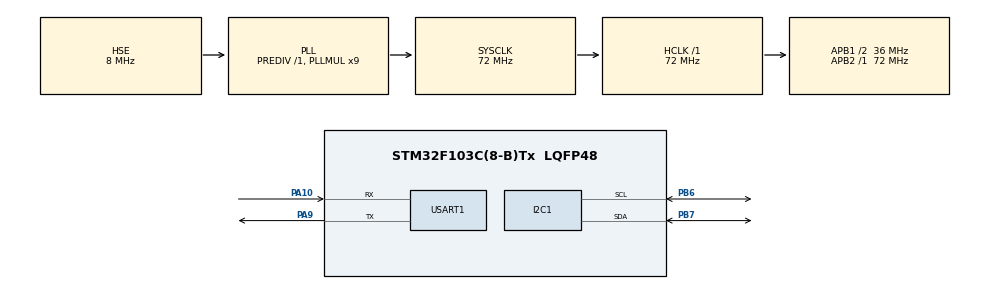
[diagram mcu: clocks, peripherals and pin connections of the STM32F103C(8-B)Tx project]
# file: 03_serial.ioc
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I2C1.I2C_Mode=I2C_Fast
Mcu.Family=STM32F1
Mcu.Name=STM32F103C(8-B)Tx
Mcu.Package=LQFP48
NVIC.PriorityGroup=NVIC_PRIORITYGROUP_4
NVIC.USART1_IRQn=true\:0\:0\:false\:false\:true\:true\:true\:true
PA10.Mode=Asynchronous
PA10.Signal=USART1_RX
PA13.Mode=Serial_Wire
PA13.Signal=SYS_JTMS-SWDIO
PA14.Mode=Serial_Wire
PA14.Signal=SYS_JTCK-SWCLK
PA9.Mode=Asynchronous
PA9.Signal=USART1_TX
PB6.Mode=I2C
PB6.Signal=I2C1_SCL
PB7.Mode=I2C
PB7.Signal=I2C1_SDA
PD0-OSC_IN.Mode=HSE-External-Oscillator
PD0-OSC_IN.Signal=RCC_OSC_IN
PD1-OSC_OUT.Mode=HSE-External-Oscillator
PD1-OSC_OUT.Signal=RCC_OSC_OUT
ProjectManager.HeapSize=0x200
ProjectManager.StackSize=0x400
ProjectManager.TargetToolchain=Makefile
RCC.AHBFreq_Value=72000000
RCC.APB1CLKDivider=RCC_HCLK_DIV2
RCC.APB1Freq_Value=36000000
RCC.APB1TimFreq_Value=72000000
RCC.APB2Freq_Value=72000000
RCC.APB2TimFreq_Value=72000000
RCC.HCLKFreq_Value=72000000
RCC.PLLMUL=RCC_PLL_MUL9
RCC.PLLSourceVirtual=RCC_PLLSOURCE_HSE
RCC.SYSCLKFreq_VALUE=72000000
RCC.SYSCLKSource=RCC_SYSCLKSOURCE_PLLCLK
RCC.USBFreq_Value=72000000
USART1.VirtualMode=VM_ASYNC
board=custom

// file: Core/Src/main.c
/* USER CODE BEGIN Header */
/**
  ******************************************************************************
  * @file           : main.c
  * @brief          : Main program body
  ******************************************************************************
  * @attention
  *
  * Copyright (c) 2026 STMicroelectronics.
  * All rights reserved.
  *
  * This software is licensed under terms that can be found in the LICENSE file
  * in the root directory of this software component.
  * If no LICENSE file comes with this software, it is provided AS-IS.
  *
  ******************************************************************************
  */
/* USER CODE END Header */
#include "main.h"
#include "i2c.h"
#include "usart.h"
#include "gpio.h"

/* USER CODE BEGIN Includes */
#include <string.h>
#include <stdlib.h>
#include <math.h>
#include "OLED.h"
/* USER CODE END Includes */

/* USER CODE BEGIN PV */
uint8_t state = 1;
int time = 0;
float tdata[1] = {0.0};
uint8_t rdata[1] = {0};
char str_list[4][10] = {"", "Sine", "Sawtooth", "Square"};
/* USER CODE END PV */

void SystemClock_Config(void);
/* USER CODE BEGIN PFP */
void Vofa_JustFloat(float *_data, uint8_t _num);
/* USER CODE END PFP */

int main(void)
{

  /* MCU Configuration--------------------------------------------------------*/

  /* Reset of all peripherals, Initializes the Flash interface and the Systick. */
  HAL_Init();

  /* Configure the system clock */
  SystemClock_Config();

  /* Initialize all configured peripherals */
  MX_GPIO_Init();
  MX_USART1_UART_Init();
  MX_I2C1_Init();
  /* USER CODE BEGIN 2 */
  HAL_Delay(20);
  OLED_init();
  OLED_show_string(0, 0, (uint8_t *)str_list[state]);
  OLED_refresh_gram();
  HAL_UART_Receive_IT(&huart1, rdata, 1);
  /* USER CODE END 2 */

  /* Infinite loop */
  while (1)
  {

    /* USER CODE BEGIN 3 */
    if (state == 1){
      tdata[0] = sin((float)(time%1000)/500*M_PI)*2;
    }else if (state == 2){
      tdata[0] = (float)(time%500)/250-1;
    }else if (state == 3){
      tdata[0] = (time%1500<750)?0.5:-0.5;
    }
    Vofa_JustFloat(tdata, 1);
    time = (time+1)%3000;
    HAL_Delay(1);
  }
  /* USER CODE END 3 */
}

void SystemClock_Config(void)
{
  RCC_OscInitTypeDef RCC_OscInitStruct = {0};
  RCC_ClkInitTypeDef RCC_ClkInitStruct = {0};

  /** Initializes the RCC Oscillators according to the specified parameters
  * in the RCC_OscInitTypeDef structure.
  */
  RCC_OscInitStruct.OscillatorType = RCC_OSCILLATORTYPE_HSE;
  RCC_OscInitStruct.HSEState = RCC_HSE_ON;
  RCC_OscInitStruct.HSEPredivValue = RCC_HSE_PREDIV_DIV1;
  RCC_OscInitStruct.HSIState = RCC_HSI_ON;
  RCC_OscInitStruct.PLL.PLLState = RCC_PLL_ON;
  RCC_OscInitStruct.PLL.PLLSource = RCC_PLLSOURCE_HSE;
  RCC_OscInitStruct.PLL.PLLMUL = RCC_PLL_MUL9;
  if (HAL_RCC_OscConfig(&RCC_OscInitStruct) != HAL_OK)
  {
    Error_Handler();
  }

  /** Initializes the CPU, AHB and APB buses clocks
  */
  RCC_ClkInitStruct.ClockType = RCC_CLOCKTYPE_HCLK|RCC_CLOCKTYPE_SYSCLK
                              |RCC_CLOCKTYPE_PCLK1|RCC_CLOCKTYPE_PCLK2;
  RCC_ClkInitStruct.SYSCLKSource = RCC_SYSCLKSOURCE_PLLCLK;
  RCC_ClkInitStruct.AHBCLKDivider = RCC_SYSCLK_DIV1;
  RCC_ClkInitStruct.APB1CLKDivider = RCC_HCLK_DIV2;
  RCC_ClkInitStruct.APB2CLKDivider = RCC_HCLK_DIV1;

  if (HAL_RCC_ClockConfig(&RCC_ClkInitStruct, FLASH_LATENCY_2) != HAL_OK)
  {
    Error_Handler();
  }
}

/* USER CODE BEGIN 4 */
void Vofa_JustFloat(float *_data, uint8_t _num)
{
    uint8_t tempData[100];
    uint8_t temp_end[4] = {0, 0, 0x80, 0x7F};
    float temp_copy[_num];

    memcpy(&temp_copy, _data, sizeof(float) * _num);

    memcpy(tempData, (uint8_t *)&temp_copy, sizeof(temp_copy));
    memcpy(&tempData[_num * 4], &temp_end[0], 4);

    //....在此替换你的串口发送函数...........
    HAL_UART_Transmit_IT(&huart1, tempData, (_num + 1) * 4);
    //......................................
}
void HAL_UART_RxCpltCallback(UART_HandleTypeDef *huart)
{
  if (huart->Instance == USART1)
  {
    HAL_UART_Receive_IT(&huart1, rdata, 1);
    if (rdata[0] == 1 || rdata[0] == 2 || rdata[0] == 3){
      state = rdata[0];
      OLED_operate_gram(PEN_CLEAR);
      OLED_show_string(0, 0, (uint8_t *)str_list[state]);
      OLED_refresh_gram();
    }
  }
}
/* USER CODE END 4 */

void Error_Handler(void)
{
  __disable_irq();
  while (1)
  {
  }
}
